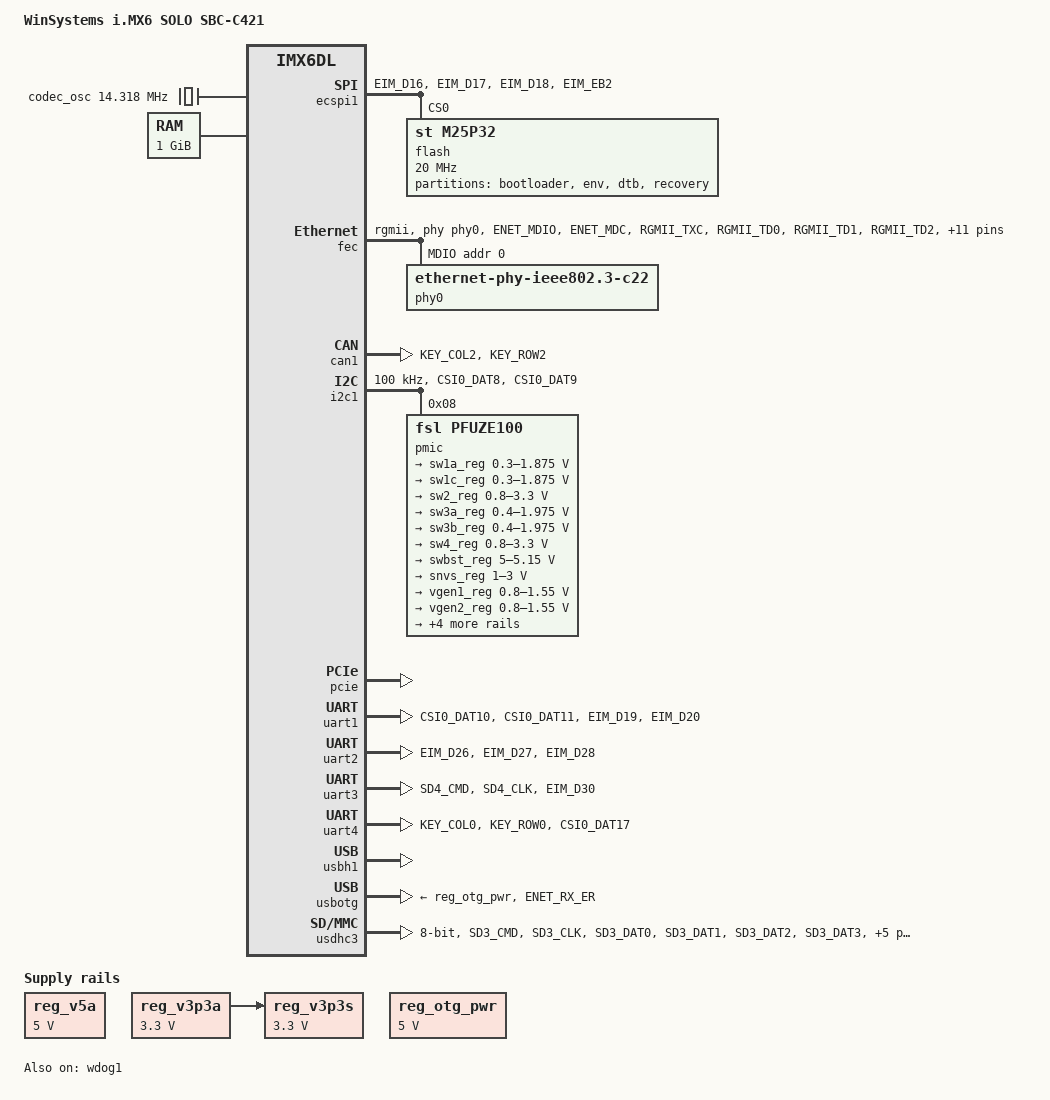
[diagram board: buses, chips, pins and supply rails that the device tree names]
/*
 * Copyright 2016 WinSystems, Inc.
 * Copyright 2012 Freescale Semiconductor, Inc.
 * Copyright 2011 Linaro Ltd.
 *
 * The code contained herein is licensed under the GNU General Public
 * License. You may obtain a copy of the GNU General Public License
 * Version 2 or later at the following locations:
 *
 * http://www.opensource.org/licenses/gpl-license.html
 * http://www.gnu.org/copyleft/gpl.html
 */

/dts-v1/;


#include "imx6dl-pinfunc.h"
#include "imx6dl.dtsi"
#include <dt-bindings/gpio/gpio.h>
#include <dt-bindings/input/input.h>
#include <dt-bindings/interrupt-controller/irq.h>

#define GP_PCIE_WAKE_N      <&gpio1 0 GPIO_ACTIVE_LOW>
#define GP_PCIE_DIS_N       <&gpio1 1 GPIO_ACTIVE_HIGH>
#define GP_PCIE_RST_N       <&gpio1 2 GPIO_ACTIVE_LOW>
#define GP_LED_USER         <&gpio1 26 GPIO_ACTIVE_HIGH>
#define GP_ENET_PHY_INT     <&gpio1 28 GPIO_ACTIVE_LOW>
#define GP_SPI1_SS0         <&gpio2 30 GPIO_ACTIVE_HIGH>
#define GP_USB_HUB_RST      <&gpio3 21 GPIO_ACTIVE_LOW>
#define GP_OTG_PWR_EN       <&gpio6 7 GPIO_ACTIVE_HIGH>
#define GP_ENET_PHY_RESET   <&gpio6 31 GPIO_ACTIVE_LOW>

/ {
    model = "WinSystems i.MX6 SOLO SBC-C421";
    compatible = "fsl,imx6solo-c421", "fsl,imx6dl";
  };

/ {
    clocks {
        codec_osc: codec_osc {
            compatible = "fixed-clock";
            #clock-cells = <0>;
            clock-frequency = <14318000>;
        };
    };

    memory {
        reg = <0x10000000 0x40000000>;
    };

    regulators {
        compatible = "simple-bus";
        #address-cells = <1>;
        #size-cells = <0>;

        reg_v5a: regulator@0 {
            compatible = "regulator-fixed";
            reg = <0>;
            regulator-name = "reg_v5a";
            regulator-min-microvolt = <5000000>;
            regulator-max-microvolt = <5000000>;
            regulator-always-on;
        };

        reg_v3p3a: regulator@1 {
            compatible = "regulator-fixed";
            reg = <1>;
            regulator-name = "reg_v3p3a";
            regulator-min-microvolt = <3300000>;
            regulator-max-microvolt = <3300000>;
            regulator-always-on;
        };

        reg_v3p3s: regulator@2 {
            compatible = "regulator-fixed";
            reg = <2>;
            regulator-name = "reg_v3p3s";
            vin-supply = <&reg_v3p3a>;
            regulator-min-microvolt = <3300000>;
            regulator-max-microvolt = <3300000>;
            regulator-always-on;
        };

        reg_otg_pwr: regulator@3 {
            compatible = "regulator-fixed";
            reg = <3>;
            regulator-name = "reg_otg_pwr";
            regulator-min-microvolt = <5000000>;
            regulator-max-microvolt = <5000000>;
            gpio = GP_OTG_PWR_EN;
            enable-active-high;
        };
    };
};

&cpu0 {
    arm-supply = <&sw1a_reg>;
    soc-supply = <&sw1c_reg>;
};

&ecspi1 {
    fsl,spi-num-chipselects = <1>;
    cs-gpios = GP_SPI1_SS0;
    pinctrl-names = "default";
    pinctrl-0 = <&pinctrl_ecspi1>;
    status = "okay";

    flash: m25p80@0 {
        compatible = "st,m25p32";
        reg = <0>;
        spi-max-frequency = <20000000>;

        partition@0 {
            label = "bootloader";
            reg = <0x0 0x60000>;
        };

        partition@1 {
            label = "env";
            reg = <0x60000 0x10000>;
        };

        partition@2 {
            label = "dtb";
            reg = <0x70000 0x10000>;
        };

        partition@3 {
            label = "recovery";
            reg = <0x80000 0x380000>;
        };
    };
};

&fec {
    pinctrl-names = "default";
    pinctrl-0 = <&pinctrl_enet>;
    phy-mode = "rgmii";
    phy-handle = <&phy0>;
    #if 0
    phy-reset-gpios = GP_ENET_PHY_RESET;
    #endif
    status = "okay";

    mdio {
        #address-cells = <1>;
        #size-cells = <0>;

        phy0: ethernet-phy@0 {
            compatible = "ethernet-phy-ieee802.3-c22";
            reg = <0>;
        };
    };
};

&can1 {
    pinctrl-names = "default";
    pinctrl-0 = <&pinctrl_flexcan1>;
    status = "okay";
};

&gpc {
    fsl,ldo-bypass = <1>;
    fsl,wdog-reset = <1>;
};

&i2c1 {
    clock-frequency = <100000>;
    pinctrl-names = "default";
    pinctrl-0 = <&pinctrl_i2c1>;
    status = "okay";

    pmic: pfuze100@08 {
        compatible = "fsl,pfuze100";
        reg = <0x08>;

        regulators {
            sw1a_reg: sw1ab {
                regulator-min-microvolt = <300000>;
                regulator-max-microvolt = <1875000>;
                regulator-boot-on;
                regulator-always-on;
                regulator-ramp-delay = <6250>;
            };

            sw1c_reg: sw1c {
                regulator-min-microvolt = <300000>;
                regulator-max-microvolt = <1875000>;
                regulator-boot-on;
                regulator-always-on;
                regulator-ramp-delay = <6250>;
            };

            sw2_reg: sw2 {
                regulator-min-microvolt = <800000>;
                regulator-max-microvolt = <3300000>;
                regulator-boot-on;
                regulator-always-on;
            };

            sw3a_reg: sw3a {
                regulator-min-microvolt = <400000>;
                regulator-max-microvolt = <1975000>;
                regulator-boot-on;
                regulator-always-on;
            };

            sw3b_reg: sw3b {
                regulator-min-microvolt = <400000>;
                regulator-max-microvolt = <1975000>;
                regulator-boot-on;
                regulator-always-on;
            };

            sw4_reg: sw4 {
                regulator-min-microvolt = <800000>;
                regulator-max-microvolt = <3300000>;
            };

            swbst_reg: swbst {
                regulator-min-microvolt = <5000000>;
                regulator-max-microvolt = <5150000>;
            };

            snvs_reg: vsnvs {
                regulator-min-microvolt = <1000000>;
                regulator-max-microvolt = <3000000>;
                regulator-boot-on;
                regulator-always-on;
            };

            vref_reg: vrefddr {
                regulator-boot-on;
                regulator-always-on;
            };

            vgen1_reg: vgen1 {
                regulator-min-microvolt = <800000>;
                regulator-max-microvolt = <1550000>;
            };

            vgen2_reg: vgen2 {
                regulator-min-microvolt = <800000>;
                regulator-max-microvolt = <1550000>;
            };

            vgen3_reg: vgen3 {
                regulator-min-microvolt = <1800000>;
                regulator-max-microvolt = <3300000>;
            };

            vgen4_reg: vgen4 {
                regulator-min-microvolt = <1800000>;
                regulator-max-microvolt = <3300000>;
                regulator-always-on;
            };

            vgen5_reg: vgen5 {
                regulator-min-microvolt = <1800000>;
                regulator-max-microvolt = <3300000>;
                regulator-always-on;
            };

            vgen6_reg: vgen6 {
                regulator-min-microvolt = <1800000>;
                regulator-max-microvolt = <3300000>;
                regulator-always-on;
            };
        };
    };
};

&iomuxc {
    pinctrl-names = "default";
    pinctrl-0 = <&pinctrl_hog>;

    imx6solo-c421 {
        pinctrl_ecspi1: ecspi1grp {
            fsl,pins = <
                MX6QDL_PAD_EIM_D16__ECSPI1_SCLK        0x100b1
                MX6QDL_PAD_EIM_D17__ECSPI1_MISO        0x100b1
                MX6QDL_PAD_EIM_D18__ECSPI1_MOSI        0x100b1
                MX6QDL_PAD_EIM_EB2__GPIO2_IO30         0x80000000  // cs0
            >;
        };

        pinctrl_enet: enetgrp {
            fsl,pins = <
                MX6QDL_PAD_ENET_MDIO__ENET_MDIO        0x1b0b0
                MX6QDL_PAD_ENET_MDC__ENET_MDC          0x1b0b0
                MX6QDL_PAD_RGMII_TXC__RGMII_TXC        0x1b0b0
                MX6QDL_PAD_RGMII_TD0__RGMII_TD0        0x1b0b0
                MX6QDL_PAD_RGMII_TD1__RGMII_TD1        0x1b0b0
                MX6QDL_PAD_RGMII_TD2__RGMII_TD2        0x1b0b0
                MX6QDL_PAD_RGMII_TD3__RGMII_TD3        0x1b0b0
                MX6QDL_PAD_RGMII_TX_CTL__RGMII_TX_CTL  0x1b0b0
                MX6QDL_PAD_ENET_REF_CLK__ENET_TX_CLK   0x1b0b0
                MX6QDL_PAD_RGMII_RXC__RGMII_RXC        0x1b0b0
                MX6QDL_PAD_RGMII_RD0__RGMII_RD0        0x1b0b0
                MX6QDL_PAD_RGMII_RD1__RGMII_RD1        0x1b0b0
                MX6QDL_PAD_RGMII_RD2__RGMII_RD2        0x1b0b0
                MX6QDL_PAD_RGMII_RD3__RGMII_RD3        0x1b0b0
                MX6QDL_PAD_RGMII_RX_CTL__RGMII_RX_CTL  0x1b0b0
                MX6QDL_PAD_EIM_BCLK__GPIO6_IO31        0x1b0b0      // rgmii_reset_n
                MX6QDL_PAD_ENET_TX_EN__GPIO1_IO28      0x000b1      // Micrel RGMII Phy Interrupt
            >;
        };

        pinctrl_flexcan1: flexcan1grp {
            fsl,pins = <
                MX6QDL_PAD_KEY_COL2__FLEXCAN1_TX       0x1b0b0
                MX6QDL_PAD_KEY_ROW2__FLEXCAN1_RX       0x1b0b0
            >;
        };

        pinctrl_hog: hoggrp {
            fsl,pins = < 
                MX6QDL_PAD_GPIO_0__GPIO1_IO00          0x80000000      // pcie_wake_n
                MX6QDL_PAD_GPIO_1__GPIO1_IO01          0x000b0         // pcie_dis_n
                MX6QDL_PAD_GPIO_2__GPIO1_IO02          0x000b0         // pcie_rst#
                MX6QDL_PAD_GPIO_3__GPIO1_IO03          0x80000000      // gpio0
                MX6QDL_PAD_GPIO_4__GPIO1_IO04          0x80000000      // gpio1
                MX6QDL_PAD_GPIO_5__GPIO1_IO05          0x80000000      // gpio2
                MX6QDL_PAD_GPIO_6__GPIO1_IO06          0x80000000      // gpio3
                MX6QDL_PAD_GPIO_7__GPIO1_IO07          0x000b0         // uart4_te
                MX6QDL_PAD_GPIO_8__GPIO1_IO08          0x80000000      // id0
                MX6QDL_PAD_GPIO_9__GPIO1_IO09          0x80000000      // id1
                MX6QDL_PAD_EIM_D21__GPIO3_IO21         0x000b0         // usb_hub_reset_n
                MX6QDL_PAD_CSI0_DAT12__GPIO5_IO30      0x000b0         // uart2_rxen#
                MX6QDL_PAD_CSI0_DAT13__GPIO5_IO31      0x000b0         // uart4_rxen#
                MX6QDL_PAD_CSI0_DAT14__GPIO6_IO00      0x000b0         // uart3_rxen#
                MX6QDL_PAD_CSI0_PIXCLK__GPIO5_IO18     0x000b0         // uart2_te#
                MX6QDL_PAD_CSI0_DAT16__GPIO6_IO02      0x000b0         // uart3_te#
                MX6QDL_PAD_NANDF_CLE__GPIO6_IO07       0x030b0         // usb_otg_pwr_en
                MX6QDL_PAD_NANDF_ALE__GPIO6_IO08       0x000b0         // spi1_wp#
                MX6QDL_PAD_NANDF_CS0__GPIO6_IO11       0x80000000      // pmic_int_n
                MX6QDL_PAD_NANDF_CS1__GPIO6_IO14       0x80000000      // usb_otg_oc
                MX6QDL_PAD_GPIO_16__GPIO7_IO11         0x80000000      // id2
                MX6QDL_PAD_SD1_DAT2__WDOG1_B           0x108b0         // watchdog 1
            >;
        };

        pinctrl_i2c1: i2c1grp {
            fsl,pins = <
                MX6QDL_PAD_CSI0_DAT8__I2C1_SDA         0x4001b8b1
                MX6QDL_PAD_CSI0_DAT9__I2C1_SCL         0x4001b8b1
            >;
        };

        pinctrl_uart1: uart1grp {
            fsl,pins = <
                MX6QDL_PAD_CSI0_DAT10__UART1_TX_DATA   0x1b0b1
                MX6QDL_PAD_CSI0_DAT11__UART1_RX_DATA   0x1b0b1
                MX6QDL_PAD_EIM_D19__UART1_CTS_B        0x1b0b1
                MX6QDL_PAD_EIM_D20__UART1_RTS_B        0x1b0b1
            >;
        };

        pinctrl_uart2: uart2grp {
            fsl,pins = <
                MX6QDL_PAD_EIM_D26__UART2_TX_DATA      0x1b0b1
                MX6QDL_PAD_EIM_D27__UART2_RX_DATA      0x1b0b1
                MX6QDL_PAD_EIM_D28__UART2_CTS_B        0x1b0b1
            >;
        };

        pinctrl_uart3: uart3grp {
            fsl,pins = <
                MX6QDL_PAD_SD4_CMD__UART3_TX_DATA      0x1b0b1
                MX6QDL_PAD_SD4_CLK__UART3_RX_DATA      0x1b0b1
                MX6QDL_PAD_EIM_D30__UART3_CTS_B        0x1b0b1
            >;
        };

        pinctrl_uart4: uart4grp {
            fsl,pins = <
                MX6QDL_PAD_KEY_COL0__UART4_TX_DATA     0x1b0b1
                MX6QDL_PAD_KEY_ROW0__UART4_RX_DATA     0x1b0b1
                MX6QDL_PAD_CSI0_DAT17__UART4_CTS_B     0x1b0b1
            >;
        };

        pinctrl_usbotg: usbotggrp {
            fsl,pins = <
                MX6QDL_PAD_ENET_RX_ER__USB_OTG_ID      0x17059
            >;
        };

        pinctrl_usdhc3: usdhc3grp {
            fsl,pins = <
                MX6QDL_PAD_SD3_CMD__SD3_CMD            0x17059
                MX6QDL_PAD_SD3_CLK__SD3_CLK            0x10059
                MX6QDL_PAD_SD3_DAT0__SD3_DATA0         0x17059
                MX6QDL_PAD_SD3_DAT1__SD3_DATA1         0x17059
                MX6QDL_PAD_SD3_DAT2__SD3_DATA2         0x17059
                MX6QDL_PAD_SD3_DAT3__SD3_DATA3         0x17059
                MX6QDL_PAD_SD3_DAT4__SD3_DATA4         0x17059
                MX6QDL_PAD_SD3_DAT5__SD3_DATA5         0x17059
                MX6QDL_PAD_SD3_DAT6__SD3_DATA6         0x17059
                MX6QDL_PAD_SD3_DAT7__SD3_DATA7         0x17059
                MX6QDL_PAD_SD3_RST__SD3_RESET          0x17059
            >;
        };
    };
};

&pcie {
    power-on-gpio = GP_PCIE_DIS_N;
    reset-gpio = GP_PCIE_RST_N;
    wake-up-gpio = GP_PCIE_WAKE_N;
    status = "okay";
};

&uart1 {
    pinctrl-names = "default";
    pinctrl-0 = <&pinctrl_uart1>;
    status = "okay";
};

&uart2 {
    pinctrl-names = "default";
    pinctrl-0 = <&pinctrl_uart2>;
    status = "okay";
};

&uart3 {
    pinctrl-names = "default";
    pinctrl-0 = <&pinctrl_uart3>;
    status = "okay";
};

&uart4 {
    pinctrl-names = "default";
    pinctrl-0 = <&pinctrl_uart4>;
    status = "okay";
};

&usbh1 {
    reset-gpios = GP_USB_HUB_RST;
    status = "okay";
};

&usbotg {
    vbus-supply = <&reg_otg_pwr>;
    pinctrl-names = "default";
    pinctrl-0 = <&pinctrl_usbotg>;
    disable-over-current;
    status = "okay";
};

&usdhc3 {
    pinctrl-names = "default";
    pinctrl-0 = <&pinctrl_usdhc3>;
    bus-width = <8>;
    keep-power-in-suspend;
    status = "okay";
};

&wdog1 {
    status = "okay";
};
